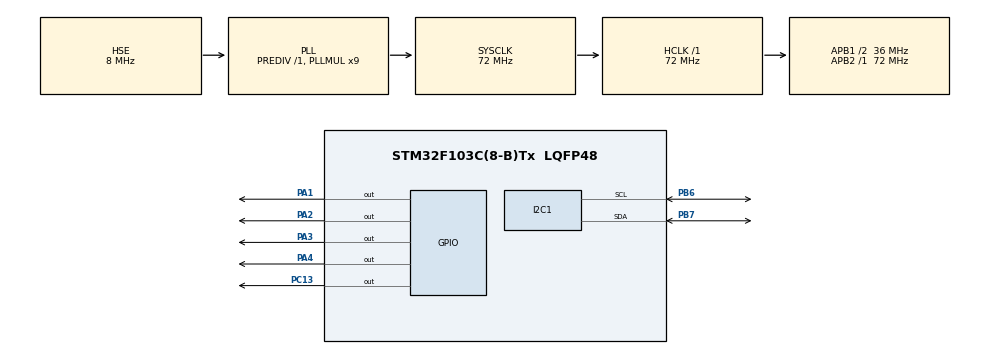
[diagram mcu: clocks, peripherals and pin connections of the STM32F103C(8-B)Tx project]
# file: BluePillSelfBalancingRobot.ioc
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I2C1.I2C_Mode=I2C_Fast
Mcu.Family=STM32F1
Mcu.Name=STM32F103C(8-B)Tx
Mcu.Package=LQFP48
NVIC.PriorityGroup=NVIC_PRIORITYGROUP_4
NVIC.TIM2_IRQn=true\:0\:0\:true\:false\:true\:true\:true\:true
NVIC.TIM3_IRQn=true\:0\:0\:false\:false\:true\:true\:true\:true
PA1.Signal=GPIO_Output
PA13.Mode=Serial_Wire
PA13.Signal=SYS_JTMS-SWDIO
PA14.Mode=Serial_Wire
PA14.Signal=SYS_JTCK-SWCLK
PA2.Signal=GPIO_Output
PA3.Signal=GPIO_Output
PA4.Signal=GPIO_Output
PB6.Mode=I2C
PB6.Signal=I2C1_SCL
PB7.Mode=I2C
PB7.Signal=I2C1_SDA
PC13-TAMPER-RTC.Signal=GPIO_Output
PD0-OSC_IN.Mode=HSE-External-Oscillator
PD0-OSC_IN.Signal=RCC_OSC_IN
PD1-OSC_OUT.Mode=HSE-External-Oscillator
PD1-OSC_OUT.Signal=RCC_OSC_OUT
ProjectManager.HeapSize=0x200
ProjectManager.StackSize=0x400
ProjectManager.TargetToolchain=STM32CubeIDE
RCC.AHBFreq_Value=72000000
RCC.APB1CLKDivider=RCC_HCLK_DIV2
RCC.APB1Freq_Value=36000000
RCC.APB1TimFreq_Value=72000000
RCC.APB2Freq_Value=72000000
RCC.APB2TimFreq_Value=72000000
RCC.HCLKFreq_Value=72000000
RCC.PLLMUL=RCC_PLL_MUL9
RCC.PLLSourceVirtual=RCC_PLLSOURCE_HSE
RCC.SYSCLKFreq_VALUE=72000000
RCC.SYSCLKSource=RCC_SYSCLKSOURCE_PLLCLK
RCC.USBFreq_Value=72000000
TIM1.Prescaler=72-1
TIM2.AutoReloadPreload=TIM_AUTORELOAD_PRELOAD_ENABLE
TIM2.Period=1999
TIM2.Prescaler=144-1
TIM3.AutoReloadPreload=TIM_AUTORELOAD_PRELOAD_ENABLE
TIM3.Period=179
TIM3.Prescaler=72-1
VP_TIM1_VS_ClockSourceINT.Mode=Internal
VP_TIM2_VS_ClockSourceINT.Mode=Internal
VP_TIM3_VS_ClockSourceINT.Mode=Internal
board=custom

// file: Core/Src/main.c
/* USER CODE BEGIN Header */
/**
  ******************************************************************************
  * @file           : main.c
  * @brief          : Main program body
  ******************************************************************************
  * @attention
  *
  * Copyright (c) 2022 STMicroelectronics.
  * All rights reserved.
  *
  * This software is licensed under terms that can be found in the LICENSE file
  * in the root directory of this software component.
  * If no LICENSE file comes with this software, it is provided AS-IS.
  *
  ******************************************************************************
  */
/* USER CODE END Header */
#include "main.h"

/* USER CODE BEGIN Includes */
#include "i2c-lcd.h"
#include "math.h"
/* USER CODE END Includes */

/* USER CODE BEGIN PD */
/*MPU6050*/
#define MPU_DEVICE_ADDRESS 				(0xD0)

#define MPU_WHO_AM_I_REG				(0x75)
#define MPU_WHO_AM_I_SUCCESS_VALUE 		(0x68)

#define MPU_POWER_MANAGEMENT_ONE_REG	(0x6B)
#define MPU_WAKE_UP_VALUE				(uint8_t)0x0

#define MPU_SAMPLE_RATE_DIV_REG			(0x19)
#define MPU_DATA_RATE					(uint8_t)0x7

#define MPU_GYRO_CONFIG_REG				(0x1B)
#define MPU_GYRO_CONFIG_VALUE			(uint8_t)0x0

#define MPU_ACCEL_CONFIG_REG			(0x1c)
#define MPU_ACCEL_CONFIG_VALUE			(uint8_t)0x0

#define MPU_ACCEL_DATA_START 			(0x3B)
#define MPU_ACCEL_DATA_CONVERSION_FACT	(16384.0f)

#define MPU_GYRO_DATA_START				(0x43)
#define MPU_GYRO_DATA_CONVERSION_FACT	(131.0f)

#define MPU_FILTERING_CONFIG_REG		(0x1A)
#define MPU_FILTERING_CONFIG_VALUE 		(0x03)

#define GYRO_TRAVELED_1MS_FACT			(1.0f/(1000.0f * MPU_GYRO_DATA_CONVERSION_FACT))

#define RAD_TO_DEG						(57.295779513082320876798154814105f)
/*STEPPER-MOTORS*/
#define DIRECTION_PORT_LEFT				GPIOA
#define DIRECTION_PIN_LEFT				GPIO_PIN_3

#define STEP_PORT_LEFT					GPIOA
#define STEP_PIN_LEFT					GPIO_PIN_4

#define DIRECTION_PORT_RIGHT			GPIOA
#define DIRECTION_PIN_RIGHT				GPIO_PIN_1

#define STEP_PORT_RIGHT					GPIOA
#define STEP_PIN_RIGHT					GPIO_PIN_2

#define STEPPER_DELAY_MIN 			(400u)
#define STEPPER_DELAY_MAX			(10000u)
#define MAX_ANGLE_FOR_REACTION		(30.0f)

#define STEPPER_SPEED_STEP			((STEPPER_DELAY_MAX - STEPPER_DELAY_MIN) / 100u)

#define STEPPER_ERROR_STEP			(100u / MAX_ANGLE_FOR_REACTION)

#define PID_OUTPUT_RATE				(7000.0f - (-7000.0f))
#define PID_STEP_RATE				(100 / 7000.0f)
/*LCD*/
#define LCD_WRITE_DATA					(0x80)

#define LCD_CURSOR_ROW_ONE_COLUMN_ONE 	(0x00)
#define LCD_CURSOR_ROW_TWO_COLUMN_ONE	(0x40)

/*PID*/
#define ACCEL_BALANCE_VALUE 			(14780)
#define RAD_PER_SEC_TRAVELED_4MS		(0.000031f)

#define MAXIMUM_CONTROLLER_VALUE 		(400)
/* USER CODE END PD */

 I2C_HandleTypeDef hi2c1;

TIM_HandleTypeDef htim1;
TIM_HandleTypeDef htim2;
TIM_HandleTypeDef htim3;

/* USER CODE BEGIN PV */
/*MPU6050*/
uint8_t errorBlink500ms = 0;

float accelData[3] = {0};
float gyroData[3] = {0};
uint8_t accelRaw[6] = {0};
int16_t accelRawValues[3] = {0};
uint8_t gyroRaw[6] = {0};
int16_t gyroRawValues[3] = {0};

volatile float angleFromAccel = 0.0f;
volatile float gyroAngle = 0.0f;

float gyroCalibrationValuePitch = 0.0f;
float gyroCalibrationValueYaw 	= 0.0f;

/*PID*/
// p = 5.7 d = 10 i = 0.3, period = 199
// p = 19 d = 20 i = 0.1, period = 199
// p = 19, k = 20, i = 0.1 period = 249
// p = 22, d = 39, i = 0.065

// p =22, d = 55, i = 0.025
float Kp = 23.5;
float Kd = 55;
float Ki = 0.025;

uint8_t balance = 0;

volatile float selfBalancePIDSetpoint = 0.0f;
volatile float errorTempPID = 0.0f;
volatile float integralMemoryPID = 0.0f;
volatile float setpointPID = 0.0f;
volatile float gyroInput = 0.0f;
volatile float outputPIDValue = 0.0f;
volatile float derivativeErrorPreviousPID = 0.0f;

volatile float leftStepperOutputPID = 0.0f;
volatile float rightStepperOutputPID = 0.0f;

volatile int32_t leftStepperOutput = 0;
volatile int32_t rightStepperOutput = 0;;

volatile int32_t leftStepperOutputMemory = 0;
volatile int32_t rightStepperOutputMemory = 0;
volatile uint32_t leftStepperOutputCount = 0;
volatile uint32_t rightStepperOutputCount = 0;

volatile int32_t leftStepperPulseControl = 0;
volatile int32_t rightStepperPulseControl = 0;

/* USER CODE END PV */

void SystemClock_Config(void);
static void MX_GPIO_Init(void);
static void MX_I2C1_Init(void);
static void MX_TIM1_Init(void);
static void MX_TIM2_Init(void);
static void MX_TIM3_Init(void);
/* USER CODE BEGIN PFP */
void microDelay (uint16_t delay);
void HAL_TIM_PeriodElapsedCallback(TIM_HandleTypeDef *htim);
/*MPU6050*/
uint8_t MPU6050_Init(void);
void MPU6050_ReadAccelRaw();
void MPU6050_ConvertRawToGravityConstantValues();
void MPU6050_GetAccelData();
void MPU6050_ReadGyroRaw();
void MPU6050_ConvertRawToDegPerSecValues();
void MPU6050_GetGyroData();
void MPU6050_GyroInitializationCalibration();
/* USER CODE END PFP */

int main(void)
{

  /* MCU Configuration--------------------------------------------------------*/

  /* Reset of all peripherals, Initializes the Flash interface and the Systick. */
  HAL_Init();

  /* Configure the system clock */
  SystemClock_Config();

  /* Initialize all configured peripherals */
  MX_GPIO_Init();
  MX_I2C1_Init();
  MX_TIM1_Init();
  MX_TIM2_Init();
  MX_TIM3_Init();
  /* USER CODE BEGIN 2 */
  /* USER CODE BEGIN 2 */
  HAL_TIM_Base_Start(&htim1);
  lcd_init();
  lcd_send_cmd(LCD_WRITE_DATA|LCD_CURSOR_ROW_ONE_COLUMN_ONE);
  lcd_send_string("Initialized!");
  lcd_send_cmd(LCD_WRITE_DATA|LCD_CURSOR_ROW_TWO_COLUMN_ONE);
  lcd_send_string("LCD");
  HAL_Delay(1000);
  uint8_t success = MPU6050_Init();
  if(!success){
	  lcd_send_cmd(LCD_WRITE_DATA|LCD_CURSOR_ROW_ONE_COLUMN_ONE);
	  lcd_send_string("Init Failed");
	  lcd_send_cmd(LCD_WRITE_DATA|LCD_CURSOR_ROW_TWO_COLUMN_ONE);
	  lcd_send_string("MPU6050 (-1)");
	  errorBlink500ms = 1;

  } else{
	  lcd_send_cmd(LCD_WRITE_DATA|LCD_CURSOR_ROW_ONE_COLUMN_ONE);
	  lcd_send_string("Initialized!");
	  lcd_send_cmd(LCD_WRITE_DATA|LCD_CURSOR_ROW_TWO_COLUMN_ONE);
	  lcd_send_string("MPU6050");
	  HAL_Delay(1000);
	  lcd_clear();
	  MPU6050_GyroInitializationCalibration();
	  lcd_clear();

	  HAL_TIM_Base_Start_IT(&htim2); // Drives main 4ms control loop
	  HAL_TIM_Base_Start_IT(&htim3); // Drives secondary 280us loop
	}
		//microDelay(83000);

  /* USER CODE END 2 */

  /* Infinite loop */
  while (1)
  {

    /* USER CODE BEGIN 3 */
	  /*Just some additional information via LED on the MCU*/
	  if(errorBlink500ms){
		  HAL_GPIO_WritePin(GPIOC, GPIO_PIN_13, GPIO_PIN_RESET);
		  HAL_Delay(500);
		  HAL_GPIO_WritePin(GPIOC, GPIO_PIN_13, GPIO_PIN_SET);
		  HAL_Delay(500);

	  } else{
		  HAL_GPIO_WritePin(GPIOC, GPIO_PIN_13, GPIO_PIN_RESET);
		  HAL_Delay(4000);
		  HAL_GPIO_WritePin(GPIOC, GPIO_PIN_13, GPIO_PIN_SET);
		  HAL_Delay(4000);
	  }

  }
  /* USER CODE END 3 */
}

void SystemClock_Config(void)
{
  RCC_OscInitTypeDef RCC_OscInitStruct = {0};
  RCC_ClkInitTypeDef RCC_ClkInitStruct = {0};

  /** Initializes the RCC Oscillators according to the specified parameters
  * in the RCC_OscInitTypeDef structure.
  */
  RCC_OscInitStruct.OscillatorType = RCC_OSCILLATORTYPE_HSE;
  RCC_OscInitStruct.HSEState = RCC_HSE_ON;
  RCC_OscInitStruct.HSEPredivValue = RCC_HSE_PREDIV_DIV1;
  RCC_OscInitStruct.HSIState = RCC_HSI_ON;
  RCC_OscInitStruct.PLL.PLLState = RCC_PLL_ON;
  RCC_OscInitStruct.PLL.PLLSource = RCC_PLLSOURCE_HSE;
  RCC_OscInitStruct.PLL.PLLMUL = RCC_PLL_MUL9;
  if (HAL_RCC_OscConfig(&RCC_OscInitStruct) != HAL_OK)
  {
    Error_Handler();
  }

  /** Initializes the CPU, AHB and APB buses clocks
  */
  RCC_ClkInitStruct.ClockType = RCC_CLOCKTYPE_HCLK|RCC_CLOCKTYPE_SYSCLK
                              |RCC_CLOCKTYPE_PCLK1|RCC_CLOCKTYPE_PCLK2;
  RCC_ClkInitStruct.SYSCLKSource = RCC_SYSCLKSOURCE_PLLCLK;
  RCC_ClkInitStruct.AHBCLKDivider = RCC_SYSCLK_DIV1;
  RCC_ClkInitStruct.APB1CLKDivider = RCC_HCLK_DIV2;
  RCC_ClkInitStruct.APB2CLKDivider = RCC_HCLK_DIV1;

  if (HAL_RCC_ClockConfig(&RCC_ClkInitStruct, FLASH_LATENCY_2) != HAL_OK)
  {
    Error_Handler();
  }
}

static void MX_I2C1_Init(void)
{

  hi2c1.Instance = I2C1;
  hi2c1.Init.ClockSpeed = 400000;
  hi2c1.Init.DutyCycle = I2C_DUTYCYCLE_2;
  hi2c1.Init.OwnAddress1 = 0;
  hi2c1.Init.AddressingMode = I2C_ADDRESSINGMODE_7BIT;
  hi2c1.Init.DualAddressMode = I2C_DUALADDRESS_DISABLE;
  hi2c1.Init.OwnAddress2 = 0;
  hi2c1.Init.GeneralCallMode = I2C_GENERALCALL_DISABLE;
  hi2c1.Init.NoStretchMode = I2C_NOSTRETCH_DISABLE;
  if (HAL_I2C_Init(&hi2c1) != HAL_OK)
  {
    Error_Handler();
  }

}

static void MX_TIM1_Init(void)
{

  TIM_ClockConfigTypeDef sClockSourceConfig = {0};
  TIM_MasterConfigTypeDef sMasterConfig = {0};

  htim1.Instance = TIM1;
  htim1.Init.Prescaler = 72-1;
  htim1.Init.CounterMode = TIM_COUNTERMODE_UP;
  htim1.Init.Period = 65535;
  htim1.Init.ClockDivision = TIM_CLOCKDIVISION_DIV1;
  htim1.Init.RepetitionCounter = 0;
  htim1.Init.AutoReloadPreload = TIM_AUTORELOAD_PRELOAD_DISABLE;
  if (HAL_TIM_Base_Init(&htim1) != HAL_OK)
  {
    Error_Handler();
  }
  sClockSourceConfig.ClockSource = TIM_CLOCKSOURCE_INTERNAL;
  if (HAL_TIM_ConfigClockSource(&htim1, &sClockSourceConfig) != HAL_OK)
  {
    Error_Handler();
  }
  sMasterConfig.MasterOutputTrigger = TIM_TRGO_RESET;
  sMasterConfig.MasterSlaveMode = TIM_MASTERSLAVEMODE_DISABLE;
  if (HAL_TIMEx_MasterConfigSynchronization(&htim1, &sMasterConfig) != HAL_OK)
  {
    Error_Handler();
  }

}

static void MX_TIM2_Init(void)
{

  TIM_ClockConfigTypeDef sClockSourceConfig = {0};
  TIM_MasterConfigTypeDef sMasterConfig = {0};

  htim2.Instance = TIM2;
  htim2.Init.Prescaler = 144-1;
  htim2.Init.CounterMode = TIM_COUNTERMODE_UP;
  htim2.Init.Period = 1999;
  htim2.Init.ClockDivision = TIM_CLOCKDIVISION_DIV1;
  htim2.Init.AutoReloadPreload = TIM_AUTORELOAD_PRELOAD_ENABLE;
  if (HAL_TIM_Base_Init(&htim2) != HAL_OK)
  {
    Error_Handler();
  }
  sClockSourceConfig.ClockSource = TIM_CLOCKSOURCE_INTERNAL;
  if (HAL_TIM_ConfigClockSource(&htim2, &sClockSourceConfig) != HAL_OK)
  {
    Error_Handler();
  }
  sMasterConfig.MasterOutputTrigger = TIM_TRGO_RESET;
  sMasterConfig.MasterSlaveMode = TIM_MASTERSLAVEMODE_DISABLE;
  if (HAL_TIMEx_MasterConfigSynchronization(&htim2, &sMasterConfig) != HAL_OK)
  {
    Error_Handler();
  }

}

static void MX_TIM3_Init(void)
{

  TIM_ClockConfigTypeDef sClockSourceConfig = {0};
  TIM_MasterConfigTypeDef sMasterConfig = {0};

  htim3.Instance = TIM3;
  htim3.Init.Prescaler = 72-1;
  htim3.Init.CounterMode = TIM_COUNTERMODE_UP;
  htim3.Init.Period = 279;
  htim3.Init.ClockDivision = TIM_CLOCKDIVISION_DIV1;
  htim3.Init.AutoReloadPreload = TIM_AUTORELOAD_PRELOAD_ENABLE;
  if (HAL_TIM_Base_Init(&htim3) != HAL_OK)
  {
    Error_Handler();
  }
  sClockSourceConfig.ClockSource = TIM_CLOCKSOURCE_INTERNAL;
  if (HAL_TIM_ConfigClockSource(&htim3, &sClockSourceConfig) != HAL_OK)
  {
    Error_Handler();
  }
  sMasterConfig.MasterOutputTrigger = TIM_TRGO_RESET;
  sMasterConfig.MasterSlaveMode = TIM_MASTERSLAVEMODE_DISABLE;
  if (HAL_TIMEx_MasterConfigSynchronization(&htim3, &sMasterConfig) != HAL_OK)
  {
    Error_Handler();
  }

}

static void MX_GPIO_Init(void)
{
  GPIO_InitTypeDef GPIO_InitStruct = {0};

  /* GPIO Ports Clock Enable */
  __HAL_RCC_GPIOC_CLK_ENABLE();
  __HAL_RCC_GPIOD_CLK_ENABLE();
  __HAL_RCC_GPIOA_CLK_ENABLE();
  __HAL_RCC_GPIOB_CLK_ENABLE();

  /*Configure GPIO pin Output Level */
  HAL_GPIO_WritePin(GPIOC, GPIO_PIN_13, GPIO_PIN_RESET);

  /*Configure GPIO pin Output Level */
  HAL_GPIO_WritePin(GPIOA, GPIO_PIN_1|GPIO_PIN_2|GPIO_PIN_3|GPIO_PIN_4, GPIO_PIN_RESET);

  /*Configure GPIO pin : PC13 */
  GPIO_InitStruct.Pin = GPIO_PIN_13;
  GPIO_InitStruct.Mode = GPIO_MODE_OUTPUT_PP;
  GPIO_InitStruct.Pull = GPIO_NOPULL;
  GPIO_InitStruct.Speed = GPIO_SPEED_FREQ_LOW;
  HAL_GPIO_Init(GPIOC, &GPIO_InitStruct);

  /*Configure GPIO pins : PA1 PA2 PA3 PA4 */
  GPIO_InitStruct.Pin = GPIO_PIN_1|GPIO_PIN_2|GPIO_PIN_3|GPIO_PIN_4;
  GPIO_InitStruct.Mode = GPIO_MODE_OUTPUT_PP;
  GPIO_InitStruct.Pull = GPIO_NOPULL;
  GPIO_InitStruct.Speed = GPIO_SPEED_FREQ_LOW;
  HAL_GPIO_Init(GPIOA, &GPIO_InitStruct);

}

/* USER CODE BEGIN 4 */

void HAL_TIM_PeriodElapsedCallback(TIM_HandleTypeDef *htim) {
	//REFACTOR EVERYTHING HERE
	if (htim->Instance == TIM2) {
		//4ms main looping
		 //__HAL_TIM_SET_COUNTER(&htim1, 0);
		 MPU6050_GetAccelData();
		 accelRawValues[2] -= ACCEL_BALANCE_VALUE;
		 if(accelRawValues[2] > 8200){
			 accelRawValues[2]  = 8200;
		 }
		 if(accelRawValues[2] < -8200){
			 accelRawValues[2] = -8200;
		 }

		 angleFromAccel = asin((float)accelRawValues[2]/8200.0) * RAD_TO_DEG;

		 if(balance == 0 && angleFromAccel > -0.5f && angleFromAccel < 0.5f){
			 balance = 1;
			 gyroAngle = angleFromAccel;
			 HAL_GPIO_WritePin(GPIOC, GPIO_PIN_13, GPIO_PIN_SET);
			 //errorBlink500ms = 0;
		 }

		 MPU6050_GetGyroData();
		 gyroRawValues[1] -= gyroCalibrationValuePitch;
		 gyroAngle += gyroRawValues[1] * RAD_PER_SEC_TRAVELED_4MS;

		 gyroRawValues[2] -= gyroCalibrationValueYaw;
		 gyroAngle = gyroAngle * 0.9995 + angleFromAccel * 0.0005;

		 /*PID calculations*/

		 errorTempPID = gyroAngle - selfBalancePIDSetpoint - setpointPID;
		 if (outputPIDValue > 10  || outputPIDValue < -10){
			 errorTempPID += outputPIDValue * 0.015;
		 }

		 integralMemoryPID += Ki * errorTempPID;
		 if(integralMemoryPID > MAXIMUM_CONTROLLER_VALUE){
			 integralMemoryPID = MAXIMUM_CONTROLLER_VALUE;
		 } else if (integralMemoryPID < -MAXIMUM_CONTROLLER_VALUE){
			 integralMemoryPID = -MAXIMUM_CONTROLLER_VALUE;
		 }

		 outputPIDValue = Kp * errorTempPID + integralMemoryPID + Kd * (errorTempPID - derivativeErrorPreviousPID);
		 if(outputPIDValue > MAXIMUM_CONTROLLER_VALUE){
			 outputPIDValue = MAXIMUM_CONTROLLER_VALUE;
		 } else if(outputPIDValue < -MAXIMUM_CONTROLLER_VALUE){
			 outputPIDValue = -MAXIMUM_CONTROLLER_VALUE;
		 }

		 derivativeErrorPreviousPID = errorTempPID;

		 if(outputPIDValue < 5 && outputPIDValue > -5){
			 outputPIDValue = 0;
		 }

		 if(gyroAngle > MAX_ANGLE_FOR_REACTION || gyroAngle < -MAX_ANGLE_FOR_REACTION || balance == 0 ){
			 outputPIDValue = 0;
			 balance = 0;
			 integralMemoryPID = 0;
			 selfBalancePIDSetpoint = 0;
		 }

		 leftStepperOutputPID = outputPIDValue;
		 rightStepperOutputPID = outputPIDValue;

		 /*Controller Calculations*/
		 /*TODO implement controller controls*/

		 if(setpointPID > 0.5){
			 setpointPID -=0.05;
		 } else if(setpointPID < -0.5){
			 setpointPID += 0.05;
		 } else{
			 setpointPID = 0;
		 }

		 if (setpointPID == 0){
			 if(outputPIDValue < 0 ){
				 selfBalancePIDSetpoint += 0.0015;
			 }
			 if (outputPIDValue > 0){
				 selfBalancePIDSetpoint -= 0.0015;
			 }
		 }

		 /*Motor Step Calculations*/
		 /*Compensating for non-linear behaviour of stepper motors to get a linear speed response*/
		 if(leftStepperOutputPID > 0){
			 leftStepperOutputPID = 405 - (1/(leftStepperOutputPID + 9)) * 5500;
		 } else if(leftStepperOutputPID  < 0){
			 leftStepperOutputPID = -405 - (1/(leftStepperOutputPID - 9)) * 5500;
		 }

		 if(rightStepperOutputPID > 0){
			 rightStepperOutputPID = 405 - (1/(rightStepperOutputPID + 9)) * 5500;
		 } else if (rightStepperOutputPID < 0){
			 rightStepperOutputPID =  -405 - (1/(rightStepperOutputPID - 9)) * 5500;
		 }

		 /*Calculate step time*/
		 if(leftStepperOutputPID > 0){
			 leftStepperOutput = MAXIMUM_CONTROLLER_VALUE - leftStepperOutputPID;
		 } else if(leftStepperOutputPID < 0){
			 leftStepperOutput = -MAXIMUM_CONTROLLER_VALUE - leftStepperOutputPID;
		 } else{
			 leftStepperOutput = 0;
		 }

		 if(rightStepperOutputPID > 0){
			 rightStepperOutput = MAXIMUM_CONTROLLER_VALUE - rightStepperOutputPID;
		 } else if(rightStepperOutputPID < 0){
			 rightStepperOutput = -MAXIMUM_CONTROLLER_VALUE - rightStepperOutputPID;
		 } else{
			 rightStepperOutput = 0;
		 }

		 leftStepperPulseControl = leftStepperOutput;
		 rightStepperPulseControl = rightStepperOutput;

  	} else if(htim->Instance == TIM3){
  		/*Step pulse generation - every 20us*/
  		//Right Stepper
  		rightStepperOutputCount++;
  		if(rightStepperOutputCount > rightStepperOutputMemory){
  			rightStepperOutputMemory = rightStepperPulseControl;
  			rightStepperOutputCount = 0;
  			if(rightStepperOutputMemory < 0){
  				GPIOA->BSRR |= (DIRECTION_PIN_RIGHT);
  				//HAL_GPIO_WritePin(DIRECTION_PORT_RIGHT, DIRECTION_PIN_RIGHT, GPIO_PIN_SET);
  				rightStepperOutputMemory *= -1;
  			} else{
  				GPIOA->BSRR |= (DIRECTION_PIN_RIGHT) << 16;
  				//HAL_GPIO_WritePin(DIRECTION_PORT_RIGHT, DIRECTION_PIN_RIGHT, GPIO_PIN_RESET);
  			}
  		} else if(rightStepperOutputCount == 1){
  			//HAL_GPIO_WritePin(STEP_PORT_RIGHT, STEP_PIN_RIGHT, GPIO_PIN_SET);
  			GPIOA->BSRR |= (STEP_PIN_RIGHT);
  		} else if(rightStepperOutputCount == 2){
  			//HAL_GPIO_WritePin(STEP_PORT_RIGHT, STEP_PIN_RIGHT, GPIO_PIN_RESET);
  			GPIOA->BSRR |= (STEP_PIN_RIGHT) << 16;
  		}
  		// Left Stepper
		leftStepperOutputCount++;
		if(leftStepperOutputCount > leftStepperOutputMemory){
			leftStepperOutputMemory = leftStepperPulseControl;
			leftStepperOutputCount = 0;
			if(leftStepperOutputMemory < 0){
				GPIOA->BSRR |= (DIRECTION_PIN_LEFT)  << 16;
				//HAL_GPIO_WritePin(DIRECTION_PORT_LEFT, DIRECTION_PIN_LEFT, GPIO_PIN_RESET);
				leftStepperOutputMemory *= -1;
			} else{
				GPIOA->BSRR |= (DIRECTION_PIN_LEFT);
				//HAL_GPIO_WritePin(DIRECTION_PORT_LEFT, DIRECTION_PIN_LEFT, GPIO_PIN_SET);
			}
		} else if(leftStepperOutputCount == 1){
			//HAL_GPIO_WritePin(STEP_PORT_LEFT, STEP_PIN_LEFT, GPIO_PIN_SET);
			GPIOA->BSRR |= (STEP_PIN_LEFT);
		} else if(leftStepperOutputCount == 2){
			//HAL_GPIO_WritePin(STEP_PORT_LEFT, STEP_PIN_LEFT, GPIO_PIN_RESET);
			GPIOA->BSRR |= (STEP_PIN_LEFT) << 16;
		}
  	}
}

/*MPU6050*/
uint8_t MPU6050_Init(void){
	uint8_t dataBuffer;
	//WHO AM I check
	HAL_I2C_Mem_Read(&hi2c1, MPU_DEVICE_ADDRESS, MPU_WHO_AM_I_REG, 1, &dataBuffer, 1, 1000);
	if (dataBuffer != MPU_WHO_AM_I_SUCCESS_VALUE){

		return 0u;

	} else{
		//Write all 0's to Power Management 1 register to wake the sensor up
		dataBuffer = MPU_WAKE_UP_VALUE;
		HAL_I2C_Mem_Write(&hi2c1, MPU_DEVICE_ADDRESS, MPU_POWER_MANAGEMENT_ONE_REG, 1, &dataBuffer, 1, 1000);

		//Set Data Rate
		dataBuffer = MPU_DATA_RATE;
		HAL_I2C_Mem_Write(&hi2c1, MPU_DEVICE_ADDRESS, MPU_SAMPLE_RATE_DIV_REG, 1, &dataBuffer, 1, 1000);

		//Configure GYRO (+- 250 deg/s)
		dataBuffer = MPU_GYRO_CONFIG_VALUE;
		HAL_I2C_Mem_Write(&hi2c1, MPU_DEVICE_ADDRESS, MPU_GYRO_CONFIG_REG, 1, &dataBuffer, 1, 1000);

		//Configure ACCEL (+- 2g)
		dataBuffer = MPU_ACCEL_CONFIG_VALUE;
		HAL_I2C_Mem_Write(&hi2c1, MPU_DEVICE_ADDRESS, MPU_ACCEL_CONFIG_REG, 1, &dataBuffer, 1, 1000);

		//Improve raw data by setting up filtering
		dataBuffer = MPU_FILTERING_CONFIG_VALUE;
		HAL_I2C_Mem_Write(&hi2c1, MPU_DEVICE_ADDRESS, MPU_FILTERING_CONFIG_REG, 1, &dataBuffer, 1, 1000);
		return 1u;

	}
}
void MPU6050_ReadAccelRaw(){

	//Read Accel Data for all 3 axis (2 bytes per axis)

	HAL_I2C_Mem_Read(&hi2c1, MPU_DEVICE_ADDRESS, MPU_ACCEL_DATA_START, 1, accelRaw, 6, 1000);

	accelRawValues[0] = (((uint16_t)accelRaw[0] << 8u) | accelRaw[1]);
	accelRawValues[1] = (((uint16_t)accelRaw[2] << 8u) | accelRaw[3]);
	accelRawValues[2] = (((uint16_t)accelRaw[4] << 8u) | accelRaw[5]);

}

void MPU6050_ConvertRawToGravityConstantValues(){

	accelData[0] = accelRawValues[0] / MPU_ACCEL_DATA_CONVERSION_FACT;
	accelData[1] = accelRawValues[1] / MPU_ACCEL_DATA_CONVERSION_FACT;
	accelData[2] = accelRawValues[2] / MPU_ACCEL_DATA_CONVERSION_FACT;

}

void MPU6050_GetAccelData(){
	MPU6050_ReadAccelRaw();
	MPU6050_ConvertRawToGravityConstantValues();

}

void MPU6050_ReadGyroRaw(){
	HAL_I2C_Mem_Read(&hi2c1, MPU_DEVICE_ADDRESS, MPU_GYRO_DATA_START, 1, gyroRaw, 6, 1000);

	gyroRawValues[0] = (((uint16_t)gyroRaw[0] << 8u) | gyroRaw[1]);
	gyroRawValues[1] = (((uint16_t)gyroRaw[2] << 8u) | gyroRaw[3]);
	gyroRawValues[2] = (((uint16_t)gyroRaw[4] << 8u) | gyroRaw[5]);

}

void MPU6050_ConvertRawToDegPerSecValues(){
	gyroData[0] = gyroRawValues[0] / MPU_GYRO_DATA_CONVERSION_FACT;
	gyroData[1] = gyroRawValues[1] / MPU_GYRO_DATA_CONVERSION_FACT;
	gyroData[2] = gyroRawValues[2] / MPU_GYRO_DATA_CONVERSION_FACT;

}

void MPU6050_GetGyroData(){

	MPU6050_ReadGyroRaw();
	MPU6050_ConvertRawToDegPerSecValues();

}

void MPU6050_GyroInitializationCalibration(){
	HAL_GPIO_WritePin(GPIOC, GPIO_PIN_13, GPIO_PIN_RESET);
	int calCounter = 0;
	lcd_send_cmd (0x80|0x00);
	lcd_send_string("Calibrating Gyro");
	lcd_send_cmd (0x80|0x40);
	for(calCounter = 0; calCounter < 1000; calCounter++){
		if(calCounter % 100 == 0){
			lcd_send_string(".");
			HAL_GPIO_TogglePin(GPIOC, GPIO_PIN_13);

		}
		MPU6050_GetGyroData();
		gyroCalibrationValueYaw += gyroRawValues[2];
		gyroCalibrationValuePitch += gyroRawValues[1];
		microDelay(3000);
	}

	gyroCalibrationValuePitch /= 1000;
	gyroCalibrationValueYaw /=  1000;

	HAL_GPIO_WritePin(GPIOC, GPIO_PIN_13, GPIO_PIN_RESET);

}

void microDelay (uint16_t delay)
{
  __HAL_TIM_SET_COUNTER(&htim1, 0);
  while (__HAL_TIM_GET_COUNTER(&htim1) < delay){
	  //wait until timer counter goes to desired delay
  }
}

/* USER CODE END 4 */

void Error_Handler(void)
{
  __disable_irq();
  while (1)
  {
  }
}
